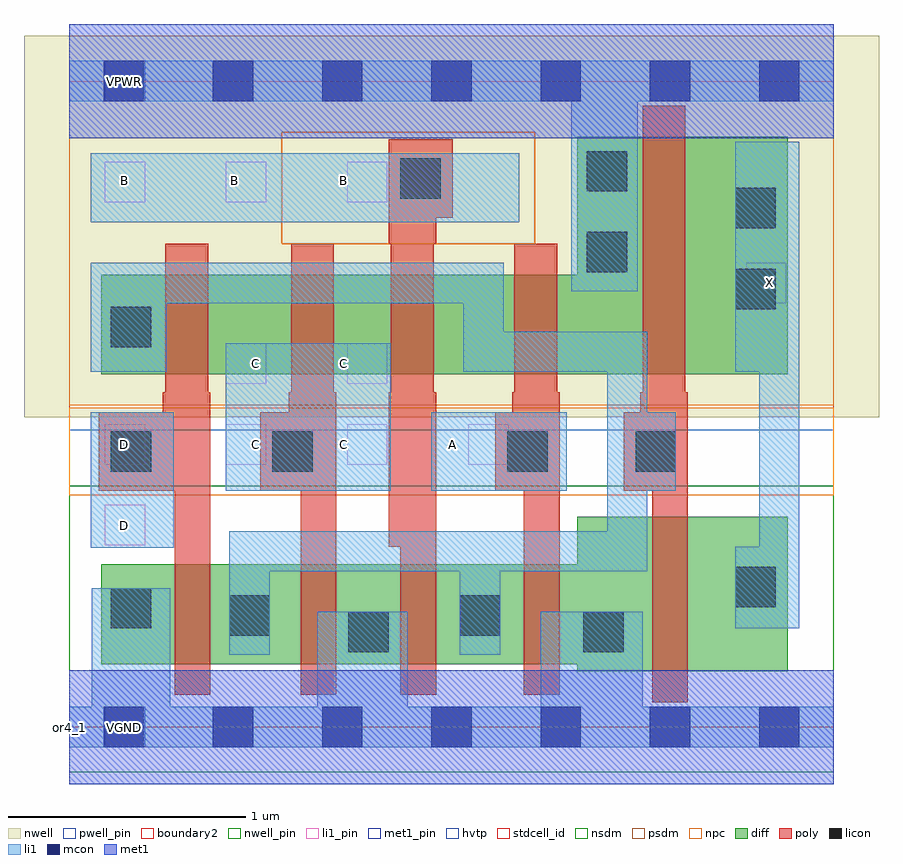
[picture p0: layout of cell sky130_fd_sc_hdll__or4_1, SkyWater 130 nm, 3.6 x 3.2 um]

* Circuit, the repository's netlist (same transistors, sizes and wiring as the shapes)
* Copyright 2020 The SkyWater PDK Authors
*
* Licensed under the Apache License, Version 2.0 (the "License");
* you may not use this file except in compliance with the License.
* You may obtain a copy of the License at
*
*     https://www.apache.org/licenses/LICENSE-2.0
*
* Unless required by applicable law or agreed to in writing, software
* distributed under the License is distributed on an "AS IS" BASIS,
* WITHOUT WARRANTIES OR CONDITIONS OF ANY KIND, either express or implied.
* See the License for the specific language governing permissions and
* limitations under the License.
*
* SPDX-License-Identifier: Apache-2.0

.SUBCKT sky130_fd_sc_hdll__or4_1 A B C D VGND VNB VPB VPWR X
*.PININFO A:I B:I C:I D:I VGND:I VNB:I VPB:I VPWR:I X:O
MMP0 VPWR A sndPA VPB sky130_fd_pr__pfet_01v8_hvt m=1 w=0.42U l=0.18U mult=1 sa=0.265
+ sb=0.265 sd=0.28 area=0.063 perim=1.14
MMP1 sndPA B sndPB VPB sky130_fd_pr__pfet_01v8_hvt m=1 w=0.42U l=0.18U mult=1 sa=0.265
+ sb=0.265 sd=0.28 area=0.063 perim=1.14
MMP2 sndPB C sndPC VPB sky130_fd_pr__pfet_01v8_hvt m=1 w=0.42U l=0.18U mult=1 sa=0.265
+ sb=0.265 sd=0.28 area=0.063 perim=1.14
MMP3 sndPC D y VPB sky130_fd_pr__pfet_01v8_hvt m=1 w=0.42U l=0.18U mult=1 sa=0.265
+ sb=0.265 sd=0.28 area=0.063 perim=1.14
MMIP4 X y VPWR VPB sky130_fd_pr__pfet_01v8_hvt m=1 w=1.0U l=0.18U mult=1 sa=0.265
+ sb=0.265 sd=0.28 area=0.063 perim=1.14
MMN0 y A VGND VNB sky130_fd_pr__nfet_01v8 m=1 w=0.42U l=0.15U mult=1 sa=0.265 sb=0.265
+ sd=0.28 area=0.063 perim=1.14
MMN1 y B VGND VNB sky130_fd_pr__nfet_01v8 m=1 w=0.42U l=0.15U mult=1 sa=0.265 sb=0.265
+ sd=0.28 area=0.063 perim=1.14
MMN2 y C VGND VNB sky130_fd_pr__nfet_01v8 m=1 w=0.42U l=0.15U mult=1 sa=0.265 sb=0.265
+ sd=0.28 area=0.063 perim=1.14
MMN3 y D VGND VNB sky130_fd_pr__nfet_01v8 m=1 w=0.42U l=0.15U mult=1 sa=0.265 sb=0.265
+ sd=0.28 area=0.063 perim=1.14
MMIN4 X y VGND VNB sky130_fd_pr__nfet_01v8 m=1 w=0.65U l=0.15U mult=1 sa=0.265
+ sb=0.265 sd=0.28 area=0.063 perim=1.14
.ENDS sky130_fd_sc_hdll__or4_1

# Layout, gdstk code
import gdstk
lib = gdstk.Library(unit=1e-6, precision=1e-09)
def R(c, l, rs):  # rectangles x0, y0, x1, y1
    for r in rs: c.add(gdstk.rectangle(r[:2], r[2:], *l))
def A(c, l, x, y, w, h, nx, ny, dx, dy):  # array of equal rectangles
    R(c, l, [(x+i*dx, y+j*dy, x+i*dx+w, y+j*dy+h) for i in range(nx) for j in range(ny)])
def P(c, l, *ps):  # polygons
    for p in ps: c.add(gdstk.Polygon(p, *l))
nwell_pin = (64, 16)
nwell = (64, 20)
diff = (65, 20)
poly = (66, 20)
licon = (66, 44)
li1_pin = (67, 16)
li1 = (67, 20)
mcon = (67, 44)
met1_pin = (68, 16)
met1 = (68, 20)
hvtp = (78, 44)
stdcell_id = (81, 4)
nsdm = (93, 44)
psdm = (94, 20)
npc = (95, 20)
pwell_pin = (122, 16)
boundary2 = (236, 0)

sky130_fd_sc_hdll__or4_1 = lib.new_cell('sky130_fd_sc_hdll__or4_1')
R(sky130_fd_sc_hdll__or4_1, nwell_pin, [(0.15,2.635,0.32,2.805)])
R(sky130_fd_sc_hdll__or4_1, nwell, [(-0.19,1.305,3.41,2.91)])
P(sky130_fd_sc_hdll__or4_1, diff, [(3.025,0.885),(2.14,0.885),(2.14,0.685),(0.135,0.685),(0.135,0.265),(2.14,0.265),(2.14,0.235),(3.025,0.235)],
  [(3.025,2.485),(2.14,2.485),(2.14,1.905),(0.135,1.905),(0.135,1.485),(3.025,1.485)])
P(sky130_fd_sc_hdll__or4_1, poly, [(0.595,1.41),(0.585,1.41),(0.585,2.035),(0.405,2.035),(0.405,1.41),(0.395,1.41),(0.395,1.325),(0.125,1.325),(0.125,0.995),(0.445,0.995),(0.445,0.135),(0.595,0.135)],
  [(1.125,1.41),(1.115,1.41),(1.115,2.035),(0.935,2.035),(0.935,1.41),(0.925,1.41),(0.925,1.325),(0.805,1.325),(0.805,0.995),(0.975,0.995),(0.975,0.135),(1.125,0.135)],
  [(1.615,2.475),(1.345,2.475),(1.345,2.035),(1.355,2.035),(1.355,1.41),(1.345,1.41),(1.345,0.76),(1.395,0.76),(1.395,0.135),(1.545,0.135),(1.545,1.41),(1.535,1.41),(1.535,2.035),(1.545,2.035),(1.545,2.145),(1.615,2.145)],
  [(2.065,1.41),(2.055,1.41),(2.055,2.035),(1.875,2.035),(1.875,1.41),(1.865,1.41),(1.865,1.325),(1.795,1.325),(1.795,0.995),(1.915,0.995),(1.915,0.135),(2.065,0.135)],
  [(2.605,1.41),(2.595,1.41),(2.595,2.615),(2.415,2.615),(2.415,1.41),(2.405,1.41),(2.405,1.325),(2.335,1.325),(2.335,0.995),(2.455,0.995),(2.455,0.105),(2.605,0.105)])
R(sky130_fd_sc_hdll__or4_1, licon, [(1.175,0.315,1.345,0.485), (2.165,0.315,2.335,0.485), (0.675,0.385,0.845,0.555), (1.645,0.385,1.815,0.555), (0.175,0.415,0.345,0.585), (2.805,0.505,2.975,0.675), (0.175,1.075,0.345,1.245), (0.855,1.075,1.025,1.245), (1.845,1.075,2.015,1.245), (2.385,1.075,2.555,1.245), (0.175,1.6,0.345,1.77), (2.805,1.76,2.975,1.93), (2.18,1.915,2.35,2.085), (2.805,2.1,2.975,2.27), (1.395,2.225,1.565,2.395), (2.18,2.255,2.35,2.425)])
A(sky130_fd_sc_hdll__or4_1, li1_pin, 0.15, 1.105, 0.17, 0.17, 4, 1, 0.51, 0)
A(sky130_fd_sc_hdll__or4_1, li1_pin, 0.15, 2.21, 0.17, 0.17, 3, 1, 0.51, 0)
R(sky130_fd_sc_hdll__or4_1, li1_pin, [(0.15,0.765,0.32,0.935), (0.66,1.445,0.83,1.615), (1.17,1.445,1.34,1.615), (2.85,1.785,3.02,1.955)])
R(sky130_fd_sc_hdll__or4_1, li1, [(0.09,0.755,0.44,1.325), (0.66,0.995,1.355,1.615), (1.525,0.995,2.095,1.325), (0.09,2.125,1.895,2.415)])
P(sky130_fd_sc_hdll__or4_1, li1, [(3.22,0.085),(2.415,0.085),(2.415,0.485),(1.985,0.485),(1.985,0.085),(1.425,0.085),(1.425,0.485),(1.045,0.485),(1.045,0.085),(0.425,0.085),(0.425,0.585),(0.095,0.585),(0.095,0.085),(0,0.085),(0,-0.085),(3.22,-0.085)],
  [(3.22,2.805),(0,2.805),(0,2.635),(2.115,2.635),(2.115,1.835),(2.395,1.835),(2.395,2.635),(3.22,2.635)],
  [(3.075,2.465),(2.805,2.465),(2.805,1.495),(2.905,1.495),(2.905,0.76),(2.805,0.76),(2.805,0.415),(3.075,0.415)],
  [(2.555,1.325),(2.435,1.325),(2.435,1.665),(1.83,1.665),(1.83,1.955),(0.09,1.955),(0.09,1.495),(0.41,1.495),(0.41,1.785),(1.66,1.785),(1.66,1.495),(2.265,1.495),(2.265,0.825),(0.675,0.825),(0.675,0.305),(0.845,0.305),(0.845,0.655),(1.645,0.655),(1.645,0.305),(1.815,0.305),(1.815,0.655),(2.435,0.655),(2.435,0.995),(2.555,0.995)])
A(sky130_fd_sc_hdll__or4_1, mcon, 0.145, -0.085, 0.17, 0.17, 7, 2, 0.46, 2.72)
R(sky130_fd_sc_hdll__or4_1, met1_pin, [(0.15,-0.085,0.32,0.085), (0.15,2.635,0.32,2.805)])
R(sky130_fd_sc_hdll__or4_1, met1, [(0,-0.24,3.22,0.24), (0,2.48,3.22,2.96)])
R(sky130_fd_sc_hdll__or4_1, hvtp, [(0,1.25,3.22,2.72)])
R(sky130_fd_sc_hdll__or4_1, stdcell_id, [(0,0,3.22,2.72)])
R(sky130_fd_sc_hdll__or4_1, nsdm, [(0,-0.19,3.22,1.015)])
P(sky130_fd_sc_hdll__or4_1, psdm, [(3.22,2.91),(1.96,2.91),(1.96,2.035),(0.895,2.035),(0.895,2.505),(1.96,2.505),(1.96,2.91),(0,2.91),(0,1.355),(3.22,1.355)])
R(sky130_fd_sc_hdll__or4_1, npc, [(0,0.975,3.22,1.345), (0.895,2.035,1.96,2.505)])
R(sky130_fd_sc_hdll__or4_1, pwell_pin, [(0.15,-0.085,0.32,0.085)])
R(sky130_fd_sc_hdll__or4_1, boundary2, [(0,0,3.22,2.72)])
sky130_fd_sc_hdll__or4_1.add(gdstk.Label('C', (1.155,1.19), layer=67, texttype=5))
sky130_fd_sc_hdll__or4_1.add(gdstk.Label('A', (1.615,1.19), layer=67, texttype=5))
sky130_fd_sc_hdll__or4_1.add(gdstk.Label('X', (2.95,1.87), layer=67, texttype=5))
sky130_fd_sc_hdll__or4_1.add(gdstk.Label('C', (0.785,1.19), layer=67, texttype=5))
sky130_fd_sc_hdll__or4_1.add(gdstk.Label('B', (1.155,2.3), layer=67, texttype=5))
sky130_fd_sc_hdll__or4_1.add(gdstk.Label('B', (0.695,2.3), layer=67, texttype=5))
sky130_fd_sc_hdll__or4_1.add(gdstk.Label('C', (0.785,1.53), layer=67, texttype=5))
sky130_fd_sc_hdll__or4_1.add(gdstk.Label('B', (0.235,2.3), layer=67, texttype=5))
sky130_fd_sc_hdll__or4_1.add(gdstk.Label('C', (1.155,1.53), layer=67, texttype=5))
sky130_fd_sc_hdll__or4_1.add(gdstk.Label('D', (0.235,1.19), layer=67, texttype=5))
sky130_fd_sc_hdll__or4_1.add(gdstk.Label('D', (0.235,0.85), layer=67, texttype=5))
sky130_fd_sc_hdll__or4_1.add(gdstk.Label('VPWR', (0.235,2.72), layer=68, texttype=5))
sky130_fd_sc_hdll__or4_1.add(gdstk.Label('VGND', (0.235,0), layer=68, texttype=5))
sky130_fd_sc_hdll__or4_1.add(gdstk.Label('VPB', (0.235,2.72), layer=64, texttype=5))
sky130_fd_sc_hdll__or4_1.add(gdstk.Label('VNB', (0.235,0), layer=64, texttype=59))
sky130_fd_sc_hdll__or4_1.add(gdstk.Label('or4_1', (0,0), layer=83, texttype=44))

lib.write_gds('sky130_fd_sc_hdll__or4_1.gds')
